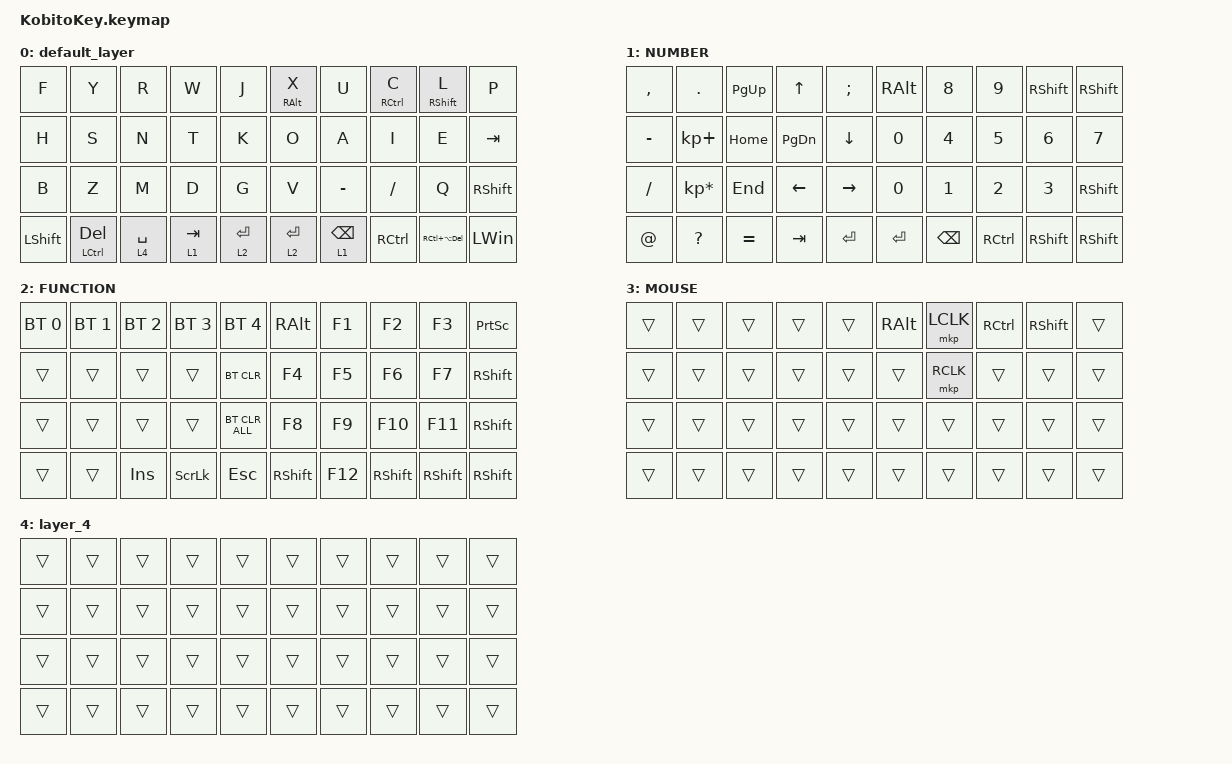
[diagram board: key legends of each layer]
#include <input/processors.dtsi>
#include <behaviors.dtsi>
#include <dt-bindings/zmk/bt.h>
#include <dt-bindings/zmk/keys.h>
#include <dt-bindings/zmk/pointing.h>

/ {
    combos {
        compatible = "zmk,combos";

        lang_kana {
            bindings = <&kp LANG1>;
            key-positions = <8 7>;
        };

        lang_eisu {
            bindings = <&kp LANG2>;
            key-positions = <28 27>;
        };

        alt {
            bindings = <&kp LEFT_ALT>;
            key-positions = <30 31>;
        };
    };

    keymap {
        compatible = "zmk,keymap";

        default_layer {
            bindings = <
&kp F           &kp Y             &kp R        &kp W      &kp J        &mt RIGHT_ALT X  &kp U            &mt RCTRL C  &mt RIGHT_SHIFT L   &kp P
&kp H           &kp S             &kp N        &kp T      &kp K        &kp O            &kp A            &kp I        &kp E               &kp TAB
&kp B           &kp Z             &kp M        &kp D      &kp G        &kp V            &kp MINUS        &kp SLASH    &kp Q               &kp RIGHT_SHIFT
&kp LEFT_SHIFT  &mt LCTRL DELETE  &lt 4 SPACE  &lt 1 TAB  &lt 2 ENTER  &lt 2 ENTER      &lt 1 BACKSPACE  &kp RCTRL    &kp RC(LA(DELETE))  &kp LEFT_WIN
            >;
        };

        layer1 {
            label = "NUMBER";
            bindings = <
&kp COMMA  &kp PERIOD       &kp PAGE_UP  &kp UP_ARROW    &kp SEMICOLON    &kp RIGHT_ALT  &kp N8         &kp N9     &kp RIGHT_SHIFT  &kp RIGHT_SHIFT
&kp MINUS  &kp KP_PLUS      &kp HOME     &kp PAGE_DOWN   &kp DOWN_ARROW   &kp N0         &kp N4         &kp N5     &kp N6           &kp N7
&kp SLASH  &kp KP_MULTIPLY  &kp END      &kp LEFT_ARROW  &kp RIGHT_ARROW  &kp N0         &kp N1         &kp N2     &kp N3           &kp RIGHT_SHIFT
&kp AT     &kp QUESTION     &kp EQUAL    &kp TAB         &kp ENTER        &kp ENTER      &kp BACKSPACE  &kp RCTRL  &kp RIGHT_SHIFT  &kp RIGHT_SHIFT
            >;
        };

        layer2 {
            label = "FUNCTION";
            bindings = <
&bt BT_SEL 0  &bt BT_SEL 1  &bt BT_SEL 2  &bt BT_SEL 3    &bt BT_SEL 4    &kp RIGHT_ALT    &kp F1   &kp F2           &kp F3           &kp PRINTSCREEN
&trans        &trans        &trans        &trans          &bt BT_CLR      &kp F4           &kp F5   &kp F6           &kp F7           &kp RIGHT_SHIFT
&trans        &trans        &trans        &trans          &bt BT_CLR_ALL  &kp F8           &kp F9   &kp F10          &kp F11          &kp RIGHT_SHIFT
&trans        &trans        &kp INSERT    &kp SCROLLLOCK  &kp ESCAPE      &kp RIGHT_SHIFT  &kp F12  &kp RIGHT_SHIFT  &kp RIGHT_SHIFT  &kp RIGHT_SHIFT
            >;
        };

        layer3 {
            label = "MOUSE";
            bindings = <
&trans  &trans  &trans  &trans  &trans  &kp RIGHT_ALT  &mkp LCLK  &kp RCTRL  &kp RIGHT_SHIFT  &trans
&trans  &trans  &trans  &trans  &trans  &trans         &mkp RCLK  &trans     &trans           &trans
&trans  &trans  &trans  &trans  &trans  &trans         &trans     &trans     &trans           &trans
&trans  &trans  &trans  &trans  &trans  &trans         &trans     &trans     &trans           &trans
            >;
        };

        layer_4 {
            bindings = <
&trans  &trans  &trans  &trans  &trans  &trans  &trans  &trans  &trans  &trans
&trans  &trans  &trans  &trans  &trans  &trans  &trans  &trans  &trans  &trans
&trans  &trans  &trans  &trans  &trans  &trans  &trans  &trans  &trans  &trans
&trans  &trans  &trans  &trans  &trans  &trans  &trans  &trans  &trans  &trans
            >;
        };
    };
};
